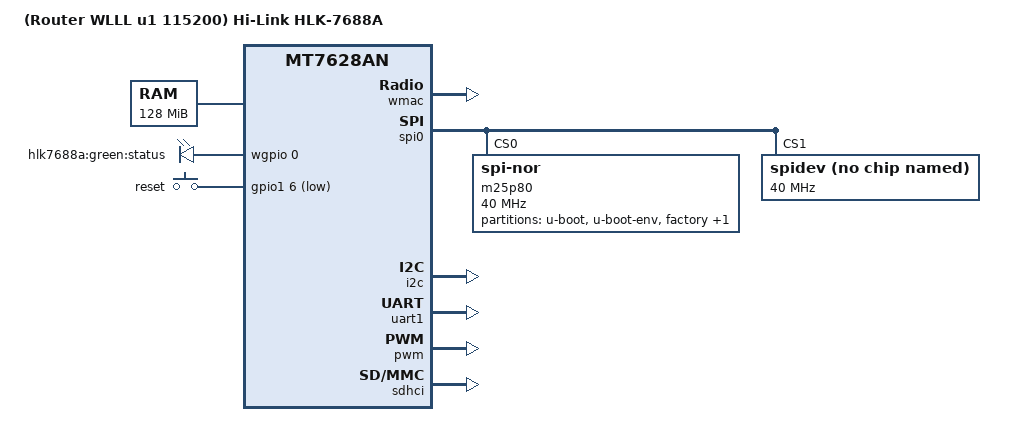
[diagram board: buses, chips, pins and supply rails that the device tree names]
/dts-v1/;

#include "mt7628an.dtsi"

#include <dt-bindings/gpio/gpio.h>
#include <dt-bindings/input/input.h>

/ {
	compatible = "hlk7688a", "mediatek,hlk7688a", "mediatek,mt7628an-soc";
	/*
	model must ends to "HLK-7688A"
	because to case in `lib/ramips.sh`
	*/
	model = "(Router WLLL u1 115200) Hi-Link HLK-7688A";

	chosen {
		bootargs = "console=ttyS1,115200";
	};

	aliases {
		// Заработает ли так?
		serial1 = &uart1;
	};

	memory@0 {
		device_type = "memory";
		reg = <0x0 0x8000000>;
	};

	bootstrap {
		// От чего это зависит?
		compatible = "mediatek,linkit";

		status = "okay";
	};

	gpio-leds {
		compatible = "gpio-leds";

		wifi {
			label = "hlk7688a:green:status";
			gpios = <&wgpio 0 0>;
			default-state = "on";
		};
	};

	gpio-keys-polled {
		compatible = "gpio-keys-polled";
		#address-cells = <1>;
		#size-cells = <0>;
		poll-interval = <20>;

		wps {
			// Где эта кнопка?
			label = "reset";
			gpios = <&gpio1 6 1>;
			linux,code = <KEY_WPS_BUTTON>;
		};
	};

	wgpio: gpio-wifi {
		compatible = "mediatek,gpio-wifi";
		#address-cells = <1>;
		#size-cells = <0>;
		gpio-controller;
		#gpio-cells = <2>;
	};
};

&pinctrl {
	state_default: pinctrl0 {
		gpio {
			ralink,group = "gpio";
			ralink,function = "gpio";
		};

		perst {
			ralink,group = "perst";
			ralink,function = "gpio";
		};

		refclk {
			ralink,group = "refclk";
			ralink,function = "gpio";
		};

		i2s {
			ralink,group = "i2s";
			ralink,function = "gpio";
		};

		spis {
			ralink,group = "spis";
			ralink,function = "gpio";
		};

		wled_kn {
			ralink,group = "wled_kn";
			ralink,function = "gpio";
		};

		wled_an {
			ralink,group = "wled_an";
			ralink,function = "wled_an";
		};

		wdt {
			ralink,group = "wdt";
			ralink,function = "gpio";
		};
	};
};

&wmac {
	status = "okay";
	// 18.06.2 VOCORE2.dtsi
	//ralink,mtd-eeprom = <&factory 0x4>;
};

&spi0 {
	status = "okay";

	pinctrl-names = "default";
	pinctrl-0 = <&spi_pins>, <&spi_cs1_pins>;

	m25p80@0 {
		#address-cells = <1>;
		#size-cells = <1>;
		compatible = "jedec,spi-nor";
		reg = <0>;
		#linux,modalias = "m25p80", "mx25l25635e";
		spi-max-frequency = <40000000>;
		m25p,chunked-io = <31>;

		partition@0 {
			label = "u-boot";
			reg = <0x0 0x30000>;
			// for easy u-boot change
			//read-only;
		};

		partition@30000 {
			label = "u-boot-env";
			reg = <0x30000 0x10000>;
		};

		factory: partition@40000 {
			label = "factory";
			reg = <0x40000 0x10000>;
			read-only;
		};

		partition@50000 {
			label = "firmware";
			reg = <0x50000 0x1fb0000>;
		};
	};

	spidev@1 {
		#address-cells = <1>;
		#size-cells = <1>;
		compatible = "linux,spidev";
		reg = <1>;
		spi-max-frequency = <40000000>;
	};
};

&i2c {
	status = "okay";
};

/*
&i2s {
	status = "okay";
};
*/

// нужно ли? Он и так вкл.
/*
&uartlite {
	status = "okay";	
};
*/


&uart1 {
	status = "okay";
};

// Disabled, because ethernet port uses
/*
&uart2 {
	status = "okay";
};
*/

&pwm {
	status = "okay";
};

&ethernet {
	mtd-mac-address = <&factory 0x28>;
	// same as 18.06.2 VOCORE2.dtsi
};

&esw {
	// 18.06.2 VOCORE2.dtsi
	/*
	mediatek,portmap = <0x7>;
	mediatek,portdisable = <0x3a>;
	*/

	// 17.01 DIR-620-A1.dts
	//mediatek,portmap = <0x2f>;

	/* 17.01 DUZUN-DM06.dts
	   Has two eth ports on board microSD slot
	*/

	/*
	mediatek,portmap = <0x3>;
	mediatek,portdisable = <0x3c>;
	*/

	// 0x3f = 0b00101111 for test
	mediatek,portmap = <0x2f>;
};

&sdhci {
	status = "okay";
	mediatek,cd-high;
};

// Disabled, because ethernet port uses
/*
&sdhci {
	status = "okay";
	mediatek,cd-high;
};
*/
